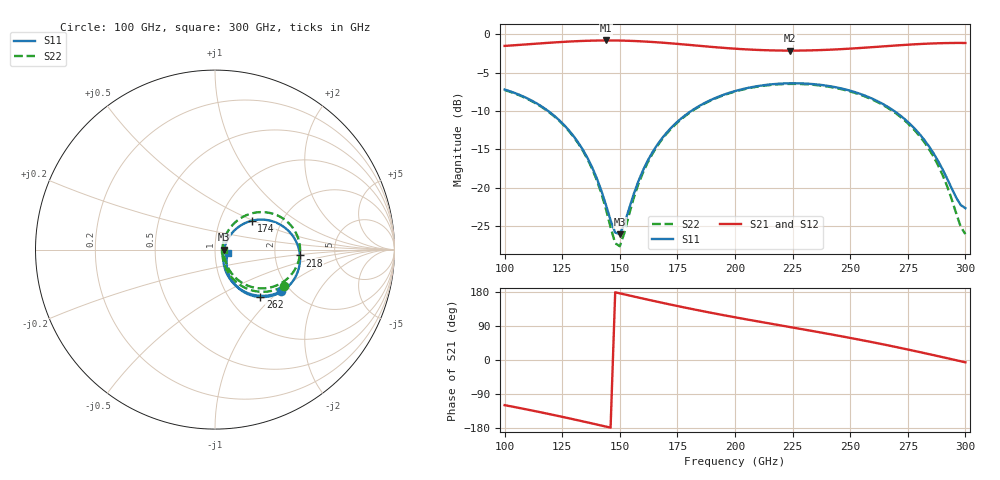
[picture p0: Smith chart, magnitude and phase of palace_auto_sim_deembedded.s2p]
! Created with skrf 1.11.0 (http://scikit-rf.org).
# GHz S DB R 50.0
!freq dBS11 angS11 dBS21 angS21 dBS12 angS12 dBS22 angS22
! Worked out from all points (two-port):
!   101 points, 100 GHz to 300 GHz, reference 50 ohm
!   highest |S21| = -0.82 dB at 144 GHz (marker M1); lowest = -2.1 dB at 224 GHz (marker M2)
!   |S21| within 3 dB of the highest: start of sweep to end of sweep
!   lowest |S11| = -26.1 dB at 150 GHz (marker M3), VSWR 1.10, Z = 55.2 - j0.0484 ohm
!   |S11| at or under -10 dB: 118.8 GHz to 181 GHz (62.21 GHz wide, 41.5 % of centre); 269 GHz to end of sweep
!   |S22| runs from -27.6 to -6.5 dB; largest |S21 - S12| = 1e-13
!   S11 on the Smith chart (normalised r, x): 100 GHz: 1.79, -1.03; 174 GHz: 1.42, +0.49; 218 GHz: 2.78, -0.23; 262 GHz: 1.38, -0.84; 300 GHz: 1.15, -0.05
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100  -7.22 -32.2  -1.53 -119.1  -1.53 -119.1  -7.28 -28.1
120  -10.26 -52.6  -1.11 -143.5  -1.11 -143.5  -10.33 -48.1
134  -15.08 -63.4  -0.88 -162.0  -0.88 -162.0  -15.20 -59.4
140  -18.77 -62.2  -0.83 -170.2  -0.83 -170.2  -19.02 -59.2
144  -22.27 -53.1  -0.82 -175.8  -0.82 -175.8  -22.81 -51.3
148  -25.85 -23.9  -0.83 178.7  -0.83 178.7  -27.26 -20.6
150  -26.06 -0.5  -0.83 175.9  -0.83 175.9  -27.63 7.6
158  -19.22 42.4  -0.92 164.9  -0.92 164.9  -19.60 53.6
168  -13.69 42.6  -1.10 151.5  -1.10 151.5  -13.84 52.6
174  -11.69 38.2  -1.24 143.7  -1.24 143.7  -11.80 47.9
186  -9.10 27.2  -1.56 128.9  -1.56 128.9  -9.17 36.8
200  -7.42 13.6  -1.89 112.7  -1.89 112.7  -7.48 23.3
218  -6.48 -3.9  -2.13 93.2  -2.13 93.2  -6.55 6.0
224  -6.40 -9.7  -2.14 86.8  -2.14 86.8  -6.48 0.3
234  -6.51 -19.4  -2.10 76.0  -2.10 76.0  -6.60 -9.2
262  -8.75 -46.4  -1.64 44.1  -1.64 44.1  -8.87 -36.5
268  -9.79 -51.8  -1.51 36.6  -1.51 36.6  -9.93 -42.3
278  -12.31 -59.3  -1.32 23.8  -1.32 23.8  -12.53 -51.0
286  -15.44 -61.2  -1.21 13.1  -1.21 13.1  -15.87 -55.1
292  -18.77 -55.0  -1.16 4.9  -1.16 4.9  -19.76 -51.7
296  -21.29 -41.3  -1.15 -0.6  -1.15 -0.6  -23.33 -38.9
300  -22.68 -15.7  -1.15 -6.1  -1.15 -6.1  -26.06 -4.1
